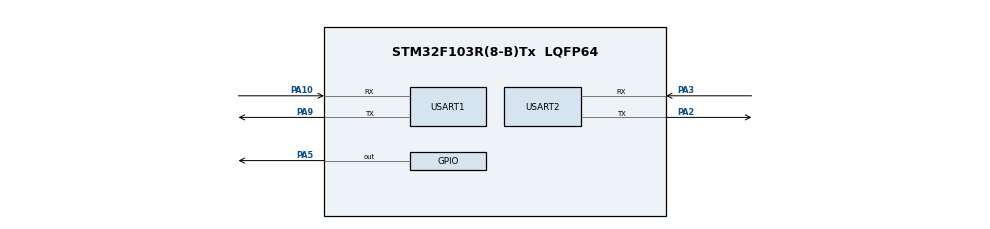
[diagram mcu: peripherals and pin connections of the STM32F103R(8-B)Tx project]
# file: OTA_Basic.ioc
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Mcu.Family=STM32F1
Mcu.Name=STM32F103R(8-B)Tx
Mcu.Package=LQFP64
NVIC.PriorityGroup=NVIC_PRIORITYGROUP_4
NVIC.USART1_IRQn=true\:0\:0\:false\:false\:true\:true\:true\:true
NVIC.USART2_IRQn=true\:0\:0\:false\:false\:true\:true\:true\:true
PA10.Mode=Asynchronous
PA10.Signal=USART1_RX
PA13.Mode=Serial_Wire
PA13.Signal=SYS_JTMS-SWDIO
PA14.Mode=Serial_Wire
PA14.Signal=SYS_JTCK-SWCLK
PA2.Mode=Asynchronous
PA2.Signal=USART2_TX
PA3.Mode=Asynchronous
PA3.Signal=USART2_RX
PA5.PinState=GPIO_PIN_RESET
PA5.Signal=GPIO_Output
PA9.Mode=Asynchronous
PA9.Signal=USART1_TX
PD0-OSC_IN.Mode=HSE-External-Oscillator
PD0-OSC_IN.Signal=RCC_OSC_IN
PD1-OSC_OUT.Mode=HSE-External-Oscillator
PD1-OSC_OUT.Signal=RCC_OSC_OUT
ProjectManager.HeapSize=0x200
ProjectManager.StackSize=0x400
ProjectManager.TargetToolchain=STM32CubeIDE
RCC.APB1Freq_Value=8000000
RCC.APB2Freq_Value=8000000
USART1.VirtualMode=VM_ASYNC
USART2.VirtualMode=VM_ASYNC
VP_CRC_VS_CRC.Mode=CRC_Activate
board=custom

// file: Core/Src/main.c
/* USER CODE BEGIN Header */
/**
  ******************************************************************************
  * @file           : main.c
  * @brief          : Main program body
  ******************************************************************************
  * @attention
  *
  * Copyright (c) 2024 STMicroelectronics.
  * All rights reserved.
  *
  * This software is licensed under terms that can be found in the LICENSE file
  * in the root directory of this software component.
  * If no LICENSE file comes with this software, it is provided AS-IS.
  *
  ******************************************************************************
  */
/* USER CODE END Header */
#include "main.h"
#include "crc.h"
#include "usart.h"
#include "gpio.h"

/* USER CODE BEGIN Includes */
#include <string.h>
#include <stdbool.h>
/* USER CODE END Includes */

/* USER CODE BEGIN PD */
#define START_PATTERN 		"\r\n:"
#define START_PATTERN_LEN 	3
#define CHUNK_SIZE 			16
#define NUM_CHUNKS 			1024
#define BUFFER_SIZE			256
#define UART_BUFFER_SIZE 1024
#define HEX_DATA_BUFFER_SIZE 1024

#define SOURCE_START_ADDRESS 0x08000000  // 원본 주소 시작 (0x08000000)
#define TARGET_START_ADDRESS 0x08010000  // 복사할 주소 시작 (0x08020000)
#define STMF32F1_MAX_ADDRESS 0x0801FFFF  // 복사할 주소 시작 (0x08020000)
#define PAGE_SIZE            0x400       // F103의 페이지 크기 (1KB)
#define NUMBER_OF_PAGES      30         // 복사할 페이지 수 128
/* USER CODE END PD */

/* USER CODE BEGIN PV */
uint8_t uart_buffer[UART_BUFFER_SIZE];
uint8_t hex_data_buffer[HEX_DATA_BUFFER_SIZE];
uint32_t data_index = 0;
uint32_t hex_data_index = 0;
uint32_t hex_body_index = 0;
bool is_body = false;  // 본문 시작 여부를 추적하는 플래그

uint8_t data_buffer[NUM_CHUNKS][CHUNK_SIZE]; // Buffer for storing received chunks
uint32_t flash_address = 0x08020000;
uint8_t chunk_index = 0, byte_index = 0;
uint8_t data_receiving = 0;

uint32_t current_flash_address = TARGET_START_ADDRESS;
uint8_t match_index = 0;
/* USER CODE END PV */

void SystemClock_Config(void);
/* USER CODE BEGIN PFP */
void send_command(const char* command);
void receive_response(char* buffer, uint16_t length);
void flash_write(uint32_t address, uint8_t *data, uint16_t length);
void process_uart_data(void) ;
/* USER CODE END PFP */

/* USER CODE BEGIN 0 */
// UART ?��?��?��?���? ?��?��?��?�� ?�� 줄씩 ?��?��?���?
void receive_data_via_uart()
{
    uint8_t received_byte;

    // Loop to receive bytes and fill chunks
    while (1)
    {
        // Receive one byte from UART
        HAL_UART_Receive(&huart1, &received_byte, 1, HAL_MAX_DELAY);

        // Store the received byte in the current chunk
        data_buffer[chunk_index][byte_index] = received_byte;
        byte_index++;

        // Check if the chunk is filled
        if (byte_index >= CHUNK_SIZE)
        {
            byte_index = 0;       // Reset byte index for the next chunk
            chunk_index++;        // Move to the next chunk

            // Check if we have filled all chunks
            if (chunk_index >= NUM_CHUNKS)
            {
                chunk_index = 0;  // Reset chunk index to overwrite old data
            }
        }
    }
}

void write_chunk_to_flash(uint32_t address, uint8_t *chunk, uint8_t length) {
    HAL_FLASH_Unlock();
    for (uint8_t i = 0; i < length; i++) {
        if (HAL_FLASH_Program(FLASH_TYPEPROGRAM_HALFWORD, address + i * 2, chunk[i]) != HAL_OK) {
            HAL_FLASH_Lock();
            return;
        }
    }
    HAL_FLASH_Lock();
}
void Flash_CopyPages(uint32_t srcAddress, uint32_t dstAddress, uint32_t pageSize, uint32_t numberOfPages) {
    HAL_FLASH_Unlock();  // 플래시 메모리 언락

    // 먼저 전체 저장할 공간을 지우기 위한 설정
    FLASH_EraseInitTypeDef EraseInitStruct;
    uint32_t PageError = 0;

    EraseInitStruct.TypeErase = FLASH_TYPEERASE_PAGES;
    EraseInitStruct.PageAddress = dstAddress;
    EraseInitStruct.NbPages = numberOfPages;

    // 전체 대상 메모리 지우기
    if (HAL_FLASHEx_Erase(&EraseInitStruct, &PageError) != HAL_OK) {
        // 오류 처리
        HAL_FLASH_Lock();
        return;
    }

    // 페이지 단위로 원본에서 대상 메모리로 데이터 복사
    for (uint32_t i = 0; i < numberOfPages; i++) {
        uint32_t srcPageAddress = srcAddress + i * pageSize;
        uint32_t dstPageAddress = dstAddress + i * pageSize;

        // 원본에서 대상 메모리로 데이터 복사
        for (uint32_t offset = 0; offset < pageSize; offset += 4) {
            uint32_t data = *(__IO uint32_t *)(srcPageAddress + offset);  // 원본 데이터 읽기

            // 데이터를 대상 메모리에 쓰기
            if (HAL_FLASH_Program(FLASH_TYPEPROGRAM_WORD, dstPageAddress + offset, data) != HAL_OK) {
                // 오류 처리
                HAL_FLASH_Lock();
                return;
            }
        }
    }

    HAL_FLASH_Lock();  // 플래시 메모리 락
}
void Flash_EraseMemory(uint32_t start_address, uint32_t numberOfPages) {
    HAL_FLASH_Unlock();  // 플래시 메모리 언락

    // 플래시 메모리 지우기 설정
    FLASH_EraseInitTypeDef EraseInitStruct;
    uint32_t PageError = 0;

    EraseInitStruct.TypeErase = FLASH_TYPEERASE_PAGES;
    EraseInitStruct.PageAddress = start_address;
    EraseInitStruct.NbPages = numberOfPages;

    // 전체 메모리 지우기
    if (HAL_FLASHEx_Erase(&EraseInitStruct, &PageError) != HAL_OK) {
        // 오류 처리
        HAL_FLASH_Lock();
        return;
    }

    HAL_FLASH_Lock();  // 플래시 메모리 락
}

// 청크 데이터를 플래시 메모리에 저장하는 함수
void Flash_WriteChunk(uint32_t *chunk_data, uint32_t chunk_size) {
    HAL_FLASH_Unlock();  // 플래시 메모리 언락

    // 청크 데이터 단위로 플래시에 기록
    for (uint32_t i = 0; i < chunk_size; i += 4) {
        uint32_t data = chunk_data[i / 4];  // 4바이트 단위로 데이터 읽기

        // 플래시에 데이터 쓰기
        if (HAL_FLASH_Program(FLASH_TYPEPROGRAM_WORD, current_flash_address, data) != HAL_OK) {
            // 오류 처리
            HAL_FLASH_Lock();
            return;
        }

        // 다음 플래시 주소로 이동
        current_flash_address += 4;
    }

    HAL_FLASH_Lock();  // 플래시 메모리 락
}
void ProcessChunkData(uint8_t *chunk_data, uint32_t chunk_size) {
    // 청크 데이터를 플래시에 쓰기
    Flash_WriteChunk((uint32_t *)chunk_data, chunk_size);
}
void StartFirmwareUpdate() {
    // 1. 플래시 메모리 지우기 (시작 시 1회)
    Flash_EraseMemory(TARGET_START_ADDRESS, NUMBER_OF_PAGES);
}

//********************
void Flash_WriteData(uint8_t *data, uint32_t size) {
    HAL_FLASH_Unlock();

    for (uint32_t i = 0; i < size; i += 4) {
        uint32_t word = (data[i + 3] << 24) | (data[i + 2] << 16) | (data[i + 1] << 8) | data[i];
        if (HAL_FLASH_Program(FLASH_TYPEPROGRAM_WORD, current_flash_address, word) != HAL_OK) {
            HAL_FLASH_Lock();
            return;
        }
        current_flash_address += 4;
    }

    HAL_FLASH_Lock();
}
/* USER CODE END 0 */

int main(void)
{

  /* MCU Configuration--------------------------------------------------------*/

  /* Reset of all peripherals, Initializes the Flash interface and the Systick. */
  HAL_Init();

  /* Configure the system clock */
  SystemClock_Config();

  /* Initialize all configured peripherals */
  MX_GPIO_Init();
  MX_USART1_UART_Init();
  MX_USART2_UART_Init();
  MX_CRC_Init();
  /* USER CODE BEGIN 2 */

  HAL_UART_Receive_IT(&huart1, &uart_buffer[data_index], 1);

  send_command("AT\r\n");
  HAL_Delay(2000);
  StartFirmwareUpdate();
  send_command("AT+CWQAP\r\n");
  HAL_Delay(1000); // Disconnect any previous connection

  send_command("AT+RST\r\n");
  HAL_Delay(2000); // Reset the module

  // Connect to Wi-Fi network
  send_command("AT+CWJAP=\"Atom2_4GHz\",\"atom1234!\"\r\n");
  HAL_Delay(5000);  // Adjust delay if connection takes longer

  // Confirm IP address
  send_command("AT+CIFSR\r\n");
  HAL_Delay(1000); // Request IP address

  // Start TCP connection to Flask server
  send_command("AT+CIPSTART=\"TCP\",\"192.168.0.60\",5000\r\n");
  HAL_Delay(2000);

  // Send GET request to /test endpoint
  send_command("AT+CIPSEND=55\r\n"); // Adjust the byte length based on request string
  HAL_Delay(1000);

  // Send HTTP GET request
  send_command("GET /download/firmware HTTP/1.1\r\nHost: 192.168.0.60\r\n\r\n");
  HAL_Delay(20000); // Wait for server response

  // 플래시 페이지 복사 실행
 // Flash_CopyPages(SOURCE_START_ADDRESS, TARGET_START_ADDRESS, PAGE_SIZE, NUMBER_OF_PAGES);

  /* USER CODE END 2 */

  /* Infinite loop */
  while (1)
  {

    /* USER CODE BEGIN 3 */
	  //receive_response(data_buffer, sizeof(data_buffer));
	 // flash_write(flash_address, data_buffer, sizeof(data_buffer));
	  //flash_address += sizeof(data_buffer);
	 // process_uart_data();
  }
  /* USER CODE END 3 */
}

void SystemClock_Config(void)
{
  RCC_OscInitTypeDef RCC_OscInitStruct = {0};
  RCC_ClkInitTypeDef RCC_ClkInitStruct = {0};

  /** Initializes the RCC Oscillators according to the specified parameters
  * in the RCC_OscInitTypeDef structure.
  */
  RCC_OscInitStruct.OscillatorType = RCC_OSCILLATORTYPE_HSI;
  RCC_OscInitStruct.HSIState = RCC_HSI_ON;
  RCC_OscInitStruct.HSICalibrationValue = RCC_HSICALIBRATION_DEFAULT;
  RCC_OscInitStruct.PLL.PLLState = RCC_PLL_NONE;
  if (HAL_RCC_OscConfig(&RCC_OscInitStruct) != HAL_OK)
  {
    Error_Handler();
  }

  /** Initializes the CPU, AHB and APB buses clocks
  */
  RCC_ClkInitStruct.ClockType = RCC_CLOCKTYPE_HCLK|RCC_CLOCKTYPE_SYSCLK
                              |RCC_CLOCKTYPE_PCLK1|RCC_CLOCKTYPE_PCLK2;
  RCC_ClkInitStruct.SYSCLKSource = RCC_SYSCLKSOURCE_HSI;
  RCC_ClkInitStruct.AHBCLKDivider = RCC_SYSCLK_DIV1;
  RCC_ClkInitStruct.APB1CLKDivider = RCC_HCLK_DIV1;
  RCC_ClkInitStruct.APB2CLKDivider = RCC_HCLK_DIV1;

  if (HAL_RCC_ClockConfig(&RCC_ClkInitStruct, FLASH_LATENCY_0) != HAL_OK)
  {
    Error_Handler();
  }
}

/* USER CODE BEGIN 4 */
/*
void HAL_UART_RxCpltCallback(UART_HandleTypeDef *huart)
{
    if (huart->Instance == USART1) {
        uart_buffer[data_index++] = uart_buffer[0];

        // Wrap data_index in a circular buffer manner if needed
        if (data_index >= BUFFER_SIZE) {
            data_index = 0;
        }

        // Re-enable UART interrupt for the next byte
        HAL_UART_Receive_IT(&huart1, &uart_buffer[data_index], 1);
    }
}
*/
void HAL_UART_RxCpltCallback(UART_HandleTypeDef *huart) {
    static const char start_pattern[] = ":020000040800F2";
    if (huart->Instance == USART1) {
        uint8_t received_byte = uart_buffer[data_index++];

        // 본문 시작 확인
        if (!is_body) {
            if (received_byte == start_pattern[match_index]) {
                match_index++;
                if (match_index == sizeof(start_pattern) - 1) {
                    is_body = true;      // 본문 시작 플래그 설정
                    data_index = 0;      // 데이터 인덱스 초기화
                    match_index = 0;     // 매칭 인덱스 초기화
                    hex_data_index = 0;  // hex_data_buffer 인덱스 초기화
                }
            } else {
                match_index = 0;  // 매칭 실패 시 다시 처음부터 매칭 시도
            }
        } else {
            // 본문 데이터 읽기
            if (received_byte == '\n' || received_byte == '\r') {
                // 데이터 라인 끝에 도달했을 때 처리
                if (hex_data_index > 0) {
                    Flash_WriteData(hex_data_buffer, hex_data_index);
                    hex_data_index = 0;
                }
            } else if (received_byte == ':' && hex_data_index == 0) {
                // 새 라인 시작 시 첫 번째 ':' 문자 무시
                // 주소 오프셋을 무시하고 데이터만 저장하기 위해 별도 처리
                data_index = 0;
            } else if (hex_data_index >= 9) {
                // ":10"과 주소 오프셋 이후의 실제 데이터만 저장
                hex_data_buffer[hex_data_index - 9] = received_byte;
                hex_data_index++;
            }
        }

        // 다음 바이트 수신 준비
        HAL_UART_Receive_IT(&huart1, &uart_buffer[data_index], 1);
    }
}
void process_uart_data(void) {
    static uint8_t pattern_index = 0;

    for (uint16_t i = 0; i < data_index; i++) {
        uint8_t received_byte = uart_buffer[i];

        if (!data_receiving) {
            // Pattern matching logic
            if (received_byte == START_PATTERN[pattern_index]) {
                pattern_index++;
                if (pattern_index == START_PATTERN_LEN) {
                    data_receiving = 1;
                    pattern_index = 0;
                    byte_index = 0;
                }
            } else {
                pattern_index = 0;
            }
        } else {
            // Store valid hex data
          //  hex_data_buffer[chunk_index][byte_index++] = received_byte;

            // If chunk is full, write it to flash and reset indices
            if (byte_index >= CHUNK_SIZE) {
                //write_chunk_to_flash(flash_address, hex_data_buffer[chunk_index], CHUNK_SIZE);
                //flash_address += CHUNK_SIZE;
                byte_index = 0;
                chunk_index = (chunk_index + 1) % NUM_CHUNKS;
            }
        }
    }
    // Reset data_index to start fresh on the next callback
    data_index = 0;
}

void send_command(const char* command)
{
    HAL_UART_Transmit(&huart1, (uint8_t*)command, strlen(command), HAL_MAX_DELAY);
}

// Function to receive response from ESP8266
void receive_response(char* buffer, uint16_t length)
{
    HAL_UART_Receive(&huart1, (uint8_t*)buffer, length, HAL_MAX_DELAY);
}

// Function to write received data to flash memory
void flash_write(uint32_t address, uint8_t *data, uint16_t length)
{
    HAL_FLASH_Unlock();
    for (uint16_t i = 0; i < length; i += 4)
    {
        uint32_t word = *(uint32_t*)(&data[i]);
        HAL_FLASH_Program(FLASH_TYPEPROGRAM_WORD, address + i, word);
    }
    HAL_FLASH_Lock();
}
/* USER CODE END 4 */

void Error_Handler(void)
{
  __disable_irq();
  while (1)
  {
  }
}
